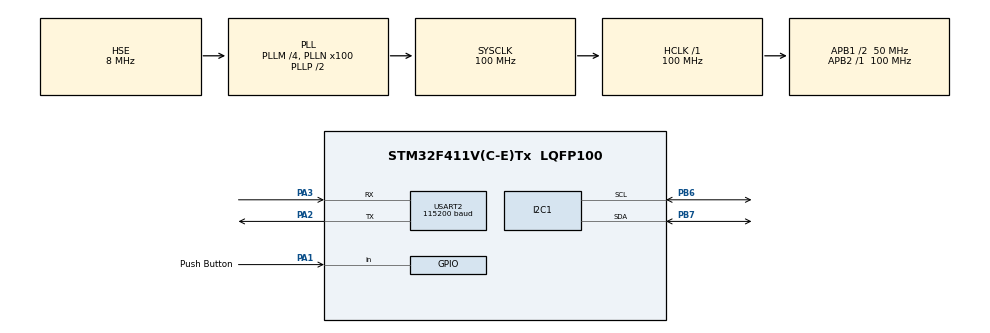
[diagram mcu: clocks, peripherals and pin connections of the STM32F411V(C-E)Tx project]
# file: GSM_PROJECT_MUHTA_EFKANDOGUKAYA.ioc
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I2C1.I2C_Mode=I2C_Fast
Mcu.Family=STM32F4
Mcu.Name=STM32F411V(C-E)Tx
Mcu.Package=LQFP100
NVIC.PriorityGroup=NVIC_PRIORITYGROUP_4
NVIC.USART2_IRQn=true\:0\:0\:false\:false\:true\:true\:true\:true
PA1.GPIO_Label=Push Button
PA1.GPIO_PuPd=GPIO_PULLDOWN
PA1.Signal=GPIO_Input
PA13.Mode=Serial_Wire
PA13.Signal=SYS_JTMS-SWDIO
PA14.Mode=Serial_Wire
PA14.Signal=SYS_JTCK-SWCLK
PA2.Mode=Asynchronous
PA2.Signal=USART2_TX
PA3.Mode=Asynchronous
PA3.Signal=USART2_RX
PB6.Mode=I2C
PB6.Signal=I2C1_SCL
PB7.Mode=I2C
PB7.Signal=I2C1_SDA
PH0\ -\ OSC_IN.Mode=HSE-External-Oscillator
PH0\ -\ OSC_IN.Signal=RCC_OSC_IN
PH1\ -\ OSC_OUT.Mode=HSE-External-Oscillator
PH1\ -\ OSC_OUT.Signal=RCC_OSC_OUT
ProjectManager.HeapSize=0x200
ProjectManager.StackSize=0x400
ProjectManager.TargetToolchain=STM32CubeIDE
RCC.48MHZClocksFreq_Value=50000000
RCC.AHBFreq_Value=100000000
RCC.APB1CLKDivider=RCC_HCLK_DIV2
RCC.APB1Freq_Value=50000000
RCC.APB1TimFreq_Value=100000000
RCC.APB2Freq_Value=100000000
RCC.APB2TimFreq_Value=100000000
RCC.CortexFreq_Value=100000000
RCC.HCLKFreq_Value=100000000
RCC.HSE_VALUE=8000000
RCC.HSI_VALUE=16000000
RCC.LSE_VALUE=32768
RCC.PLLM=4
RCC.PLLN=100
RCC.PLLSourceVirtual=RCC_PLLSOURCE_HSE
RCC.SYSCLKFreq_VALUE=100000000
RCC.SYSCLKSource=RCC_SYSCLKSOURCE_PLLCLK
RCC.VCOOutputFreq_Value=200000000
USART2.BaudRate=115200
USART2.VirtualMode=VM_ASYNC
board=custom

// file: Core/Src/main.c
/* USER CODE BEGIN Header */
/**
  ******************************************************************************
  * @file           : main.c
  * @brief          : Main program body
  ******************************************************************************
  * @attention
  *
  * Copyright (c) 2023 STMicroelectronics.
  * All rights reserved.
  *
  * This software is licensed under terms that can be found in the LICENSE file
  * in the root directory of this software component.
  * If no LICENSE file comes with this software, it is provided AS-IS.
  *
  ******************************************************************************
  */
/* USER CODE END Header */
#include "main.h"

/* USER CODE BEGIN Includes */
#include "ssd1306.h"
#include "i2c-lcd.h"
/* USER CODE END Includes */

/* USER CODE BEGIN PTD */
char GSM_AT_Send(char *Cmd, char CmdSize, char *rData, char RetSize, char trial);

char GSM_AT_Send_SMS(char *phoneNumber, char *message, char *response, char responseSize, uint32_t timeout);
/* USER CODE END PTD */

I2C_HandleTypeDef hi2c1;

UART_HandleTypeDef huart2;

/* USER CODE BEGIN PV */
char Uart_Data[255];
char returnData[25];
char Rx_Cnt=0;
char Rx_Flag=0;
char lcd_buf[25];
int count=0;
/* USER CODE END PV */

void SystemClock_Config(void);
static void MX_GPIO_Init(void);
static void MX_I2C1_Init(void);
static void MX_USART2_UART_Init(void);

int main(void)
{

  /* MCU Configuration--------------------------------------------------------*/

  /* Reset of all peripherals, Initializes the Flash interface and the Systick. */
  HAL_Init();

  /* Configure the system clock */
  SystemClock_Config();

  /* Initialize all configured peripherals */
  MX_GPIO_Init();
  MX_I2C1_Init();
  MX_USART2_UART_Init();
  /* USER CODE BEGIN 2 */
  HAL_Delay(20);
  ssd1306_Init();
  HAL_Delay(20);
  HAL_GPIO_ReadPin(GPIOA, GPIO_PIN_1);
  HAL_Delay(20);
  __HAL_UART_ENABLE_IT(&huart2,UART_IT_RXNE);
  HAL_Delay(3000);
  GSM_AT_Send("AT\r\n", 4, "\r\nOK\r\n", 6, 5);
  HAL_Delay(200);
  GSM_AT_Send("AT+CPIN?\r\n", 10,"READY\r\n" ,7, 5);
  HAL_Delay(200);
  GSM_AT_Send("AT+CREG?\r\n", 10,"+CREG: 0,1\r\n" ,7, 5);
  HAL_Delay(200);
  GSM_AT_Send("AT+CMGF=1\r\n", 11,"\r\nOK\r\n", 6, 5);
  HAL_Delay(200);

  /* USER CODE END 2 */

  /* Infinite loop */
  while (1)
  {

    /* USER CODE BEGIN 3 */
	  if (HAL_GPIO_ReadPin(GPIOA, GPIO_PIN_1) == GPIO_PIN_SET)
	  {

		  ssd1306_Fill(Black);
		 	          ssd1306_SetCursor(0, 0);
		 	          ssd1306_WriteString("Mesaj gonderiliyor: ", Font_7x10, White);
		 	          ssd1306_UpdateScreen();

		 	         char phoneNumber[] = "+905057874146";
		 	         char message[] = "Merhaba, bu bir test mesajidir.";

		 	         if (GSM_AT_Send_SMS(phoneNumber, message, "\r\nOK\r\n", 6, 5000) == 0)
		 	         {
		 	        	ssd1306_SetCursor(0, 0);
		 	        			 	          ssd1306_WriteString("Mesaj gonderildi ", Font_7x10, White);
		 	        			 	          ssd1306_UpdateScreen();
		 	        			 	        HAL_Delay(1000);
		 	         }
		 	         else
		 	         {
		 	        	ssd1306_SetCursor(0, 0);
		 	        			 	          ssd1306_WriteString("sms hatası ", Font_7x10, White);
		 	        			 	          ssd1306_UpdateScreen();
		 	        			 	        HAL_Delay(1000);
		 	         }
	  }
	    HAL_Delay(500);

	  if (GSM_AT_Send("AT+CMGR=1\r\n", 11, "\r\nOK\r\n", 6, 5) == 0)
	    {
	      if (strstr(Uart_Data, "+CMGR") != NULL)
	      {
	        char *startPtr = &Uart_Data[75];
	        char *endPtr = strstr(startPtr, "\r\n");

	        if (startPtr != NULL && endPtr != NULL)
	        {
	          int messageLength = endPtr - startPtr;
	          char message[messageLength + 1];
	          strncpy(message, startPtr, messageLength);
	          message[messageLength] = '\0';

	          ssd1306_Fill(Black);
	          ssd1306_SetCursor(0, 0);
	          ssd1306_WriteString("1 yeni mesaj: ", Font_7x10, White);
	          ssd1306_SetCursor(0, 12);
	          ssd1306_WriteString(message, Font_7x10, White);
	          ssd1306_UpdateScreen();
	          HAL_Delay(5000);

	          // Mesajı sil
	          GSM_AT_Send("AT+CMGD=1\r\n", 12, "\r\nOK\r\n", 6, 5);

	          // Mesaj hafızasını güncelle
	          HAL_Delay(1000);
	          memset(Uart_Data, 0, sizeof(Uart_Data));
	          GSM_AT_Send("AT+CMGL=\"REC UNREAD\"\r\n", 22, "\r\nOK\r\n", 6, 5);
	        }
	      }
	      else
	      {

	        // Mesaj hafızasını güncelle
	        HAL_Delay(1000);
	        memset(Uart_Data, 0, sizeof(Uart_Data));
	        GSM_AT_Send("AT+CMGL=\"REC UNREAD\"\r\n", 22, "\r\nOK\r\n", 6, 5);
	      }
	      memset(Uart_Data, 0, sizeof(Uart_Data));
	    }
	  ssd1306_Fill(Black);
	   ssd1306_SetCursor(0, 0);
		        ssd1306_WriteString("Mesajiniz Yok", Font_7x10, White);
		        ssd1306_UpdateScreen();
		        HAL_Delay(1000);
	    HAL_Delay(500);
  }
  /* USER CODE END 3 */
}

void SystemClock_Config(void)
{
  RCC_OscInitTypeDef RCC_OscInitStruct = {0};
  RCC_ClkInitTypeDef RCC_ClkInitStruct = {0};

  /** Configure the main internal regulator output voltage
  */
  __HAL_RCC_PWR_CLK_ENABLE();
  __HAL_PWR_VOLTAGESCALING_CONFIG(PWR_REGULATOR_VOLTAGE_SCALE1);

  /** Initializes the RCC Oscillators according to the specified parameters
  * in the RCC_OscInitTypeDef structure.
  */
  RCC_OscInitStruct.OscillatorType = RCC_OSCILLATORTYPE_HSE;
  RCC_OscInitStruct.HSEState = RCC_HSE_ON;
  RCC_OscInitStruct.PLL.PLLState = RCC_PLL_ON;
  RCC_OscInitStruct.PLL.PLLSource = RCC_PLLSOURCE_HSE;
  RCC_OscInitStruct.PLL.PLLM = 4;
  RCC_OscInitStruct.PLL.PLLN = 100;
  RCC_OscInitStruct.PLL.PLLP = RCC_PLLP_DIV2;
  RCC_OscInitStruct.PLL.PLLQ = 4;
  if (HAL_RCC_OscConfig(&RCC_OscInitStruct) != HAL_OK)
  {
    Error_Handler();
  }

  /** Initializes the CPU, AHB and APB buses clocks
  */
  RCC_ClkInitStruct.ClockType = RCC_CLOCKTYPE_HCLK|RCC_CLOCKTYPE_SYSCLK
                              |RCC_CLOCKTYPE_PCLK1|RCC_CLOCKTYPE_PCLK2;
  RCC_ClkInitStruct.SYSCLKSource = RCC_SYSCLKSOURCE_PLLCLK;
  RCC_ClkInitStruct.AHBCLKDivider = RCC_SYSCLK_DIV1;
  RCC_ClkInitStruct.APB1CLKDivider = RCC_HCLK_DIV2;
  RCC_ClkInitStruct.APB2CLKDivider = RCC_HCLK_DIV1;

  if (HAL_RCC_ClockConfig(&RCC_ClkInitStruct, FLASH_LATENCY_3) != HAL_OK)
  {
    Error_Handler();
  }
}

static void MX_I2C1_Init(void)
{

  hi2c1.Instance = I2C1;
  hi2c1.Init.ClockSpeed = 400000;
  hi2c1.Init.DutyCycle = I2C_DUTYCYCLE_2;
  hi2c1.Init.OwnAddress1 = 0;
  hi2c1.Init.AddressingMode = I2C_ADDRESSINGMODE_7BIT;
  hi2c1.Init.DualAddressMode = I2C_DUALADDRESS_DISABLE;
  hi2c1.Init.OwnAddress2 = 0;
  hi2c1.Init.GeneralCallMode = I2C_GENERALCALL_DISABLE;
  hi2c1.Init.NoStretchMode = I2C_NOSTRETCH_DISABLE;
  if (HAL_I2C_Init(&hi2c1) != HAL_OK)
  {
    Error_Handler();
  }

}

static void MX_USART2_UART_Init(void)
{

  huart2.Instance = USART2;
  huart2.Init.BaudRate = 115200;
  huart2.Init.WordLength = UART_WORDLENGTH_8B;
  huart2.Init.StopBits = UART_STOPBITS_1;
  huart2.Init.Parity = UART_PARITY_NONE;
  huart2.Init.Mode = UART_MODE_TX_RX;
  huart2.Init.HwFlowCtl = UART_HWCONTROL_NONE;
  huart2.Init.OverSampling = UART_OVERSAMPLING_16;
  if (HAL_UART_Init(&huart2) != HAL_OK)
  {
    Error_Handler();
  }

}

static void MX_GPIO_Init(void)
{
  GPIO_InitTypeDef GPIO_InitStruct = {0};

  /* GPIO Ports Clock Enable */
  __HAL_RCC_GPIOH_CLK_ENABLE();
  __HAL_RCC_GPIOA_CLK_ENABLE();
  __HAL_RCC_GPIOB_CLK_ENABLE();

  /*Configure GPIO pin : Push_Button_Pin */
  GPIO_InitStruct.Pin = Push_Button_Pin;
  GPIO_InitStruct.Mode = GPIO_MODE_INPUT;
  GPIO_InitStruct.Pull = GPIO_PULLDOWN;
  HAL_GPIO_Init(Push_Button_GPIO_Port, &GPIO_InitStruct);

}

/* USER CODE BEGIN 4 */
char GSM_AT_Send(char *Cmd, char CmdSize, char *rData, char RetSize, char trial)
{
	char cnt=0;

	memset(returnData,0x00,sizeof(returnData));
	memcpy(returnData,rData,RetSize);

	while(cnt<trial)
	{

		Rx_Cnt=0;
		memset(Uart_Data,0x00,sizeof(Uart_Data));
		HAL_UART_Transmit(&huart2, Cmd, CmdSize, 50);
		HAL_Delay(500);
		if(Rx_Flag)
		{
			Rx_Flag=0;
			return 0;
		}

		cnt++;

	}

	return 1;
}
char GSM_AT_Send_SMS(char *phoneNumber, char *message, char *response, char responseSize, uint32_t timeout)
{
    char command[32];
    memset(command, 0x00, sizeof(command));
    snprintf(command, sizeof(command), "AT+CMGS=\"%s\"\r\n", phoneNumber);

    char ctrlZ[] = { 0x1A, '\0' };

    uint32_t startMillis = HAL_GetTick();
    while (HAL_GetTick() - startMillis < timeout)
    {
        memset(Uart_Data, 0x00, sizeof(Uart_Data));

        HAL_UART_Transmit(&huart2, (uint8_t*)command, strlen(command), timeout);
        HAL_Delay(1000);

        if (strstr(Uart_Data, ">") != NULL)
        {
            HAL_UART_Transmit(&huart2, (uint8_t*)message, strlen(message), timeout);
            HAL_UART_Transmit(&huart2, (uint8_t*)ctrlZ, 1, timeout);

            uint32_t responseStartMillis = HAL_GetTick();
            while (HAL_GetTick() - responseStartMillis < timeout)
            {
                if (strstr(Uart_Data, response) != NULL)
                {
                    return 0;
                }
            }

            break;
        }
    }

    return 1;
}

/* USER CODE END 4 */

void Error_Handler(void)
{
  __disable_irq();
  while (1)
  {
  }
}
